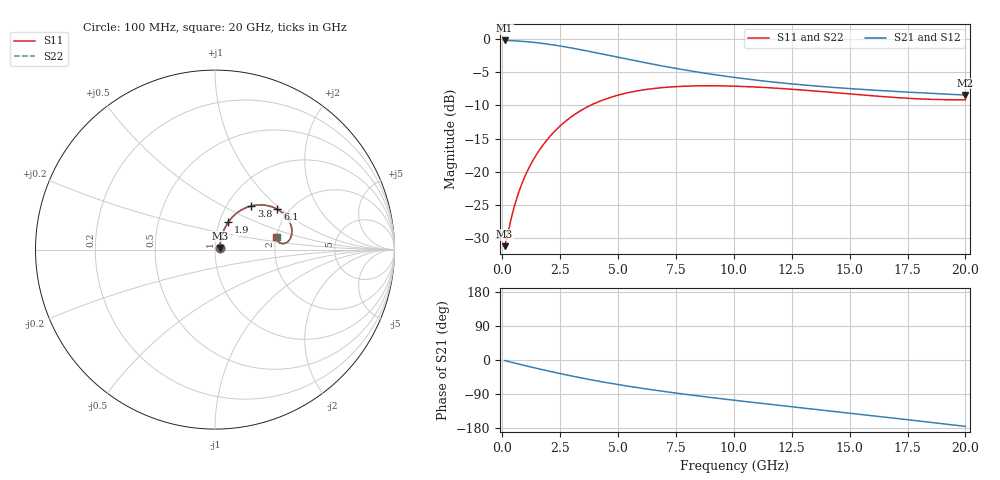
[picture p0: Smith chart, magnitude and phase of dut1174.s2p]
! Touchstone file exported from HFSS 2024.1.0
!  File:  C:/UserFiles/LocalFiles/RDL_TSV_Batchsim/temp_RDL_TSV_1174_1780124164.aedt
!  Generated:  03:10:06 PM May 30, 2026
!  Design:  RDL_TSV
!  Project:  temp_RDL_TSV_1174_1780124164
!  Setup:  Setup1
!  Solution:  Sweep
! Variables:
!  dtsv = 5.78um
!  hbump = 3um
!  htsv = 68.03um
!  ldown = 662.27um
!  lrdl = 137.05um
!  p = 40
!  p1 = 53.6um
!  rhole = 10um
!  subl = 2535.01um
!  t = 450um
!  tdown = 2.83um
!  trdl = 2.85um
!  viad = 10um
!  wdown = 11.35um
!  wrdl = 21.03um
!  xbump = 18um
# GHz S MA R 50.000000
! Terminal data exported
! Port[1] = TM1_1_T1
! Port[2] = TM1_4_T1
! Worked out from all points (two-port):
!   200 points, 100 MHz to 20 GHz, reference 50 ohm
!   highest |S21| = -0.23 dB at 100 MHz (marker M1); lowest = -8.5 dB at 20 GHz (marker M2)
!   |S21| within 3 dB of the highest: start of sweep to 5.671 GHz
!   lowest |S11| = -31.2 dB at 100 MHz (marker M3), VSWR 1.06, Z = 52.7 + j0.95 ohm
!   |S11| at or under -10 dB: start of sweep to 3.808 GHz
!   |S22| runs from -31.2 to -7.0 dB; largest |S21 - S12| = 9.1e-15
!   S11 on the Smith chart (normalised r, x): 100 MHz: 1.05, +0.02; 1.9 GHz: 1.10, +0.35; 3.8 GHz: 1.29, +0.70; 6.1 GHz: 1.74, +0.94; 20 GHz: 2.01, +0.31
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0.1  0.02755 19.1  0.9739 -1.5  0.9739 -1.5  0.02755 19.1
! Gamma 0 0 0 0
! Port Impedance 50 0 50 0
0.5  0.05331 55.2  0.9686 -7.6  0.9686 -7.6  0.0533 55.2
0.7  0.06931 60.7  0.9641 -10.6  0.9641 -10.6  0.06931 60.7
0.9  0.08582 63.5  0.9586 -13.6  0.9586 -13.6  0.08582 63.5
1.1  0.1027 64.9  0.9521 -16.5  0.9521 -16.5  0.1027 64.9
1.4  0.1283 65.4  0.9407 -20.8  0.9407 -20.8  0.1283 65.5
1.9  0.1713 64.1  0.9175 -27.8  0.9175 -27.8  0.1713 64.1
2.6  0.2296 59.8  0.8786 -37.2  0.8786 -37.2  0.2297 59.9
3  0.2607 56.8  0.8542 -42.3  0.8542 -42.3  0.2608 56.8
3.5  0.2964 52.7  0.8226 -48.4  0.8226 -48.4  0.2965 52.8
3.8  0.3158 50.2  0.8034 -51.9  0.8034 -51.9  0.316 50.3
4.8  0.369 42.2  0.7404 -62.8  0.7404 -62.8  0.3694 42.3
6.1  0.4137 32.9  0.6662 -75.3  0.6662 -75.3  0.4142 33.0
6.8  0.4282 28.5  0.6312 -81.5  0.6312 -81.5  0.4289 28.6
8.3  0.443 20.6  0.568 -93.6  0.568 -93.6  0.4439 20.8
10.1  0.4406 13.5  0.511 -106.8  0.511 -106.8  0.4416 13.7
11.7  0.4272 9.1  0.4737 -117.9  0.4737 -117.9  0.4285 9.2
13.4  0.4068 6.1  0.4441 -129.5  0.4441 -129.5  0.4082 6.2
15.1  0.3843 5.0  0.4217 -141.0  0.4217 -141.0  0.3858 5.1
16.7  0.3651 5.6  0.4052 -152.0  0.4052 -152.0  0.3668 5.7
18.4  0.3515 8.0  0.3904 -163.8  0.3904 -163.8  0.3532 8.1
20  0.3486 11.3  0.3779 -175.2  0.3779 -175.2  0.3503 11.3
